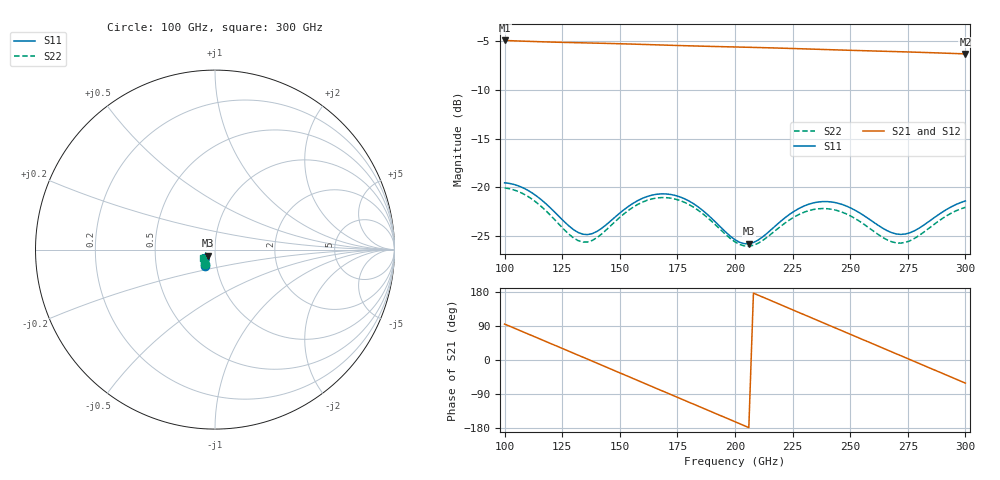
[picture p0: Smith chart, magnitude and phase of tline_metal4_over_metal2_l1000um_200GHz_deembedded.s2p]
! Created with skrf 2.0.1 (http://scikit-rf.org).
# GHz S DB R 50.0
!freq dBS11 angS11 dBS21 angS21 dBS12 angS12 dBS22 angS22
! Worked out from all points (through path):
!   101 points, 100 GHz to 300 GHz, reference 50 ohm
!   highest |S21| = -4.93 dB at 100 GHz (marker M1); lowest = -6.3 dB at 300 GHz (marker M2)
!   group delay of S21, straight-line fit = 7.17 ps
!   lowest |S11| = -25.8 dB at 206 GHz (marker M3), VSWR 1.11, Z = 46.2 - j3.18 ohm
!   |S11| at or under -10 dB: start of sweep to end of sweep
!   |S22| runs from -26.0 to -20.0 dB; largest |S21 - S12| = 9.4e-14
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100  -19.52 -121.1  -4.93 94.9  -4.93 94.9  -20.05 -123.8
108  -20.03 -132.3  -5.00 74.3  -5.00 74.3  -20.64 -135.2
116  -21.27 -140.8  -5.07 53.7  -5.07 53.7  -21.96 -143.8
126  -23.52 -142.6  -5.13 28.0  -5.13 28.0  -24.35 -145.2
134  -24.79 -133.4  -5.18 7.4  -5.18 7.4  -25.59 -134.7
142  -24.21 -122.2  -5.22 -13.2  -5.22 -13.2  -24.79 -123.2
150  -22.62 -119.5  -5.27 -33.9  -5.27 -33.9  -23.06 -121.3
160  -21.09 -126.4  -5.34 -59.8  -5.34 -59.8  -21.48 -129.3
168  -20.65 -135.5  -5.40 -80.4  -5.40 -80.4  -21.04 -139.0
182  -21.66 -150.8  -5.49 -116.5  -5.49 -116.5  -22.02 -155.2
192  -23.65 -154.9  -5.56 -142.3  -5.56 -142.3  -23.94 -160.1
200  -25.35 -148.5  -5.60 -162.9  -5.60 -162.9  -25.58 -154.8
206  -25.76 -138.2  -5.63 -178.4  -5.63 -178.4  -26.01 -145.7
218  -23.84 -125.5  -5.71 150.6  -5.71 150.6  -24.32 -134.3
234  -21.58 -134.2  -5.82 109.2  -5.82 109.2  -22.26 -143.4
242  -21.49 -141.8  -5.88 88.6  -5.88 88.6  -22.24 -151.2
250  -22.07 -148.3  -5.94 68.0  -5.94 68.0  -22.90 -157.7
260  -23.53 -150.7  -6.01 42.2  -6.01 42.2  -24.45 -159.8
268  -24.63 -145.1  -6.06 21.6  -6.06 21.6  -25.56 -153.5
276  -24.63 -135.2  -6.12 0.9  -6.12 0.9  -25.45 -143.2
284  -23.51 -129.2  -6.18 -19.7  -6.18 -19.7  -24.21 -137.7
300  -21.38 -135.1  -6.31 -61.0  -6.31 -61.0  -22.03 -145.0
